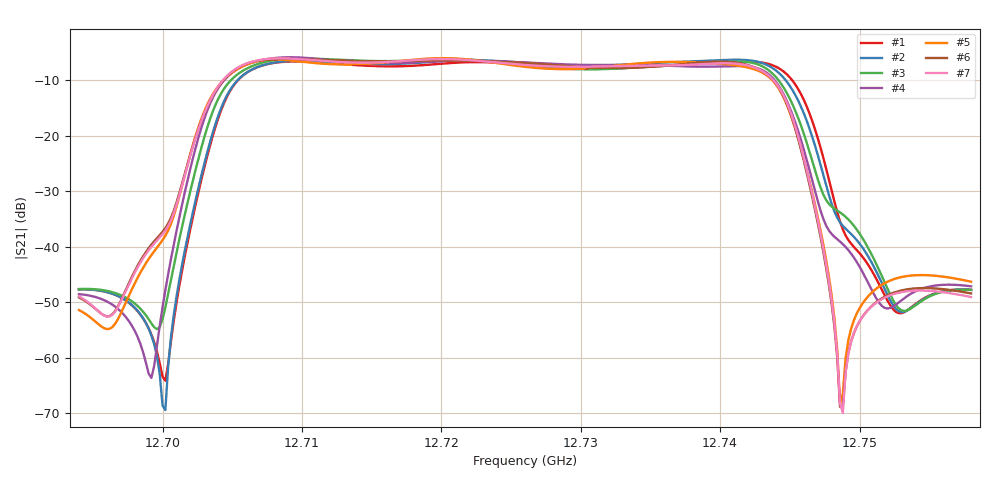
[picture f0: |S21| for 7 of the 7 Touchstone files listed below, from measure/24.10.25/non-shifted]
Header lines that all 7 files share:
#  HZ  S  RI  R  50.00
! Rohde & Schwarz ZVA50 2Ports - Version 3.70 - 1145.1110k50 SN: 100192
! Measurements: S11 S21 S12 S22
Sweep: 12.694 GHz to 12.758 GHz
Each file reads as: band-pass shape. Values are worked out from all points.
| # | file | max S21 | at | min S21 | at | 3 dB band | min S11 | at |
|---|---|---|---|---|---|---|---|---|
| 1 | ku3ch4_11.s2p | -6.66 dB | 12.7096 GHz | -64.1 dB | 12.7002 GHz | 12.7056 GHz-12.745 GHz | -18.3 dB | 12.7442 GHz |
| 2 | ku3ch4_12.s2p | -6.35 dB | 12.7412 GHz | -69.4 dB | 12.7002 GHz | 12.7058 GHz-12.7444 GHz | -21.2 dB | 12.7434 GHz |
| 3 | ku3ch4_13.s2p | -6.12 dB | 12.71 GHz | -54.9 dB | 12.6996 GHz | 12.7054 GHz-12.7438 GHz | -19.1 dB | 12.743 GHz |
| 4 | ku3ch4_14.s2p | -5.91 dB | 12.7092 GHz | -63.6 dB | 12.6992 GHz | 12.705 GHz-12.7434 GHz | -26.4 dB | 12.7066 GHz |
| 5 | ku3ch4_15.s2p | -6.07 dB | 12.7202 GHz | -68.3 dB | 12.7486 GHz | 12.7048 GHz-12.7432 GHz | -15.3 dB | 12.7066 GHz |
| 6 | ku3ch4_16.s2p | -6.23 dB | 12.7086 GHz | -68.8 dB | 12.7486 GHz | 12.7048 GHz-12.7434 GHz | -16.0 dB | 12.7412 GHz |
| 7 | ku3ch4_17.s2p | -6.11 dB | 12.7084 GHz | -70.0 dB | 12.7488 GHz | 12.7048 GHz-12.7434 GHz | -16.6 dB | 12.7436 GHz |
